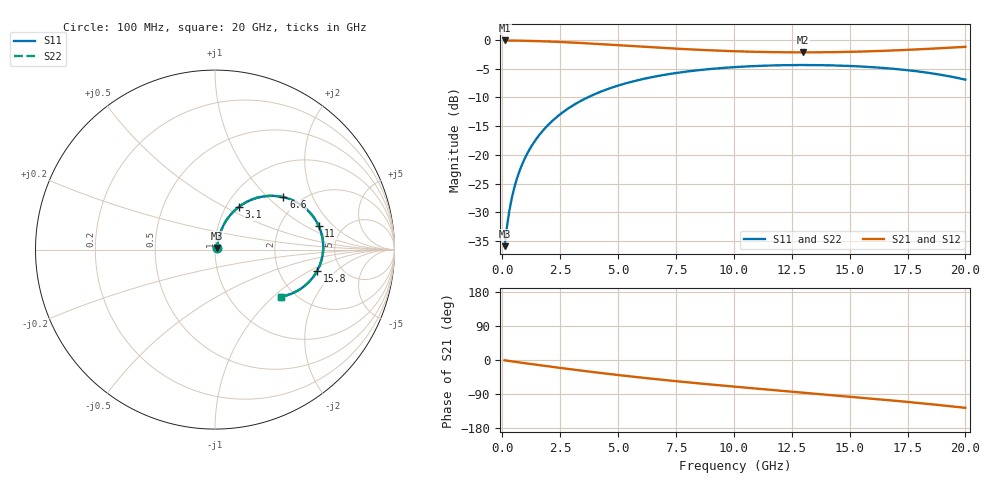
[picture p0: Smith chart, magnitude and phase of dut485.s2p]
! Touchstone file exported from HFSS 2026.1.0
!  File:  C:/ffzhzh/LocalFiles/Ansys_Project_Files/temp_train_TSV_RDL_485_1783105136_50312.aedt
!  Generated:  03:07:28 AM Jul  4, 2026
!  Design:  TSV_RDL
!  Project:  temp_train_TSV_RDL_485_1783105136_50312
! Variables:
!  h_bsmrdl = 3.48um
!  h_ox = 20um
!  h_rdl = 5um
!  h_sub = 54.29um
!  h_tmrdl = 3.52um
!  h_tsv = 54.29um
!  h_via = 3um
!  l_bsmrdl = 208.92um
!  l_sub = 2321.49um
!  l_tmrdl = 299.18um
!  m_sub = 200um
!  pitch = 55.34um
!  r_tsv = 11.66um
!  s_tmrdl = 10um
!  w_bsmrdl = 17.43um
!  w_sub = 500um
!  w_tmrdl = 15.24um
!  x_tsv_center1 = 306.8um
!  x_tsv_center2 = 533.15um
!  x_tsv_center3 = 847.57um
!  x_tsv_center4 = 1073.92um
!  x_tsv_center5 = 1388.34um
!  x_tsv_center6 = 1614.69um
# GHz S MA R 50.000000
! Terminal data exported
! Port[1] = TM_RDL1_1_T1
! Port[2] = TM_RDL5_1_T1
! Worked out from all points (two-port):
!   200 points, 100 MHz to 20 GHz, reference 50 ohm
!   highest |S21| = -0.11 dB at 100 MHz (marker M1); lowest = -2.2 dB at 13 GHz (marker M2)
!   |S21| within 3 dB of the highest: start of sweep to end of sweep
!   lowest |S11| = -35.9 dB at 100 MHz (marker M3), VSWR 1.03, Z = 51.3 + j1 ohm
!   |S11| at or under -10 dB: start of sweep to 3.693 GHz
!   |S22| runs from -35.9 to -4.4 dB; largest |S21 - S12| = 4.3e-13
!   S11 on the Smith chart (normalised r, x): 100 MHz: 1.03, +0.02; 3.1 GHz: 1.14, +0.59; 6.6 GHz: 1.64, +1.25; 11 GHz: 3.31, +1.35; 15.8 GHz: 3.32, -1.18; 20 GHz: 1.69, -1.12
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0.1  0.01607 37.3  0.9873 -0.9  0.9873 -0.9  0.01607 37.3
! Gamma 0 0 0 0
! Port Impedance 50 0 50 0
0.2  0.02359 55.1  0.9869 -1.8  0.9869 -1.8  0.02359 55.1
0.3  0.03223 63.1  0.9863 -2.6  0.9863 -2.6  0.03223 63.1
0.5  0.05019 69.6  0.9849 -4.3  0.9849 -4.3  0.05019 69.6
0.7  0.06833 71.9  0.9834 -6.0  0.9834 -6.0  0.06833 71.9
1  0.09551 72.5  0.9806 -8.6  0.9806 -8.6  0.09551 72.5
1.4  0.1314 71.4  0.976 -11.9  0.976 -11.9  0.1314 71.4
1.9  0.1751 68.8  0.9687 -16.0  0.9687 -16.0  0.1751 68.8
2.5  0.2253 64.9  0.9579 -20.9  0.9579 -20.9  0.2253 64.9
3.1  0.2727 60.8  0.9452 -25.6  0.9452 -25.6  0.2727 60.8
3.5  0.3024 58.0  0.9359 -28.7  0.9359 -28.7  0.3024 58.0
4.9  0.3941 48.4  0.9007 -38.9  0.9007 -38.9  0.3941 48.4
6.6  0.4797 37.5  0.8582 -50.3  0.8582 -50.3  0.4797 37.5
6.8  0.488 36.3  0.8536 -51.5  0.8536 -51.5  0.488 36.3
10.1  0.5802 17.6  0.795 -70.7  0.795 -70.7  0.5802 17.6
11  0.5927 12.9  0.7861 -75.6  0.7861 -75.6  0.5927 12.9
13  0.6037 2.7  0.778 -86.1  0.778 -86.1  0.6036 2.7
13.4  0.6032 0.7  0.7784 -88.2  0.7784 -88.2  0.6032 0.7
15.8  0.5815 -11.7  0.7938 -101.0  0.7938 -101.0  0.5815 -11.7
16.7  0.5643 -16.5  0.8053 -106.0  0.8053 -106.0  0.5643 -16.5
18.5  0.513 -26.6  0.8366 -116.6  0.8366 -116.6  0.513 -26.6
20  0.4504 -35.7  0.869 -126.2  0.869 -126.2  0.4504 -35.7
